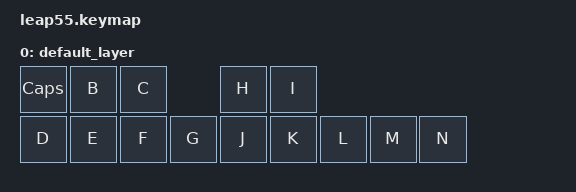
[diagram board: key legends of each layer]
/*
 * Copyright (c) 2020 The ZMK Contributors
 *
 * SPDX-License-Identifier: MIT
 */

#include <behaviors.dtsi>
#include <dt-bindings/zmk/keys.h>
#include <dt-bindings/zmk/bt.h>
#include <dt-bindings/zmk/ext_power.h>
#include <dt-bindings/zmk/outputs.h>
#include <dt-bindings/zmk/backlight.h>

/ {
    keymap {
        compatible = "zmk,keymap";

        default_layer {
            bindings = <
    &kp CAPS &kp B &kp C                     &kp H &kp I 
    &kp D &kp E &kp F &kp G                  &kp J &kp K &kp L &kp M &kp N 
            >;
        };
    };
};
